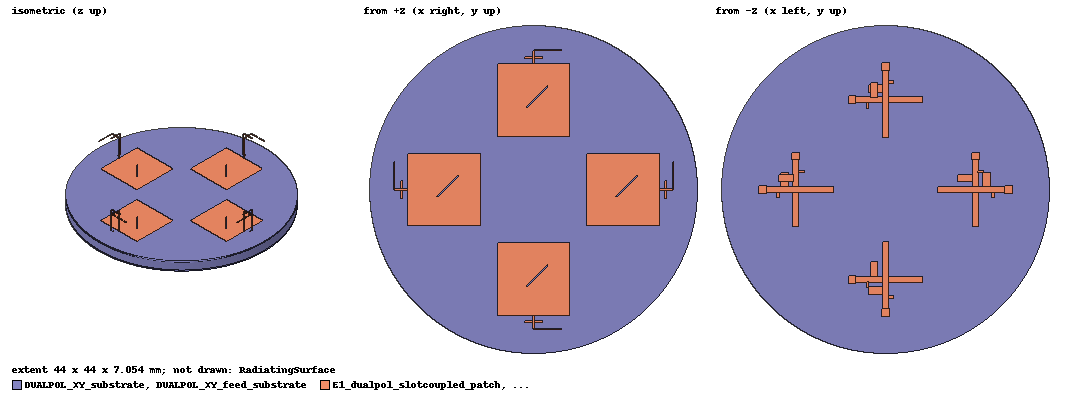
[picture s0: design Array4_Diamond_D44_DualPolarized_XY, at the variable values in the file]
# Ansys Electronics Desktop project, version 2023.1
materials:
  vacuum: permittivity=1
  RO4350B_custom_D44_Topology: permittivity=3.48 permeability=1 dielectric_loss_tangent=0.0037
  copper: permeability=0.999991 conductivity=58000000
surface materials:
  Steel-oxidised-surface

design Array4_Diamond_D44_DualPolarized_XY (HFSS, HFSS Modal Network, model units mm)
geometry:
  DUALPOL_XY_substrate [RO4350B_custom_D44_Topology] = cylinder(axis=Z, base_centre=(0mm, 0mm, 0mm), radius=22mm, height=2mm, segments=128)
  DUALPOL_XY_feed_substrate [RO4350B_custom_D44_Topology] = cylinder(axis=Z, base_centre=(0mm, 0mm, -0.254mm), radius=22mm, height=0.254mm, segments=128)
  DUALPOL_XY_bottom_ground [copper] = circle(normal=Z, centre=(0mm, 0mm, 0mm), radius=21.4mm, segments=128)
  ground_isolation_slot_1 = polyline(z=0mm, xy in mm: (2.7400388, 2.35113) (10.871767, 10.482858) (10.482858, 10.871767) (2.35113, 2.7400388) (2.7400388, 2.35113), closed, covered)
  ground_isolation_slot_2 = polyline(z=0mm, xy in mm: (-2.35113, 2.7400388) (-10.482858, 10.871767) (-10.871767, 10.482858) (-2.7400388, 2.35113) (-2.35113, 2.7400388), closed, covered)
  ground_isolation_slot_3 = polyline(z=0mm, xy in mm: (-2.7400388, -2.35113) (-10.871767, -10.482858) (-10.482858, -10.871767) (-2.35113, -2.7400388) (-2.7400388, -2.35113), closed, covered)
  ground_isolation_slot_4 = polyline(z=0mm, xy in mm: (2.35113, -2.7400388) (10.482858, -10.871767) (10.871767, -10.482858) (2.7400388, -2.35113) (2.35113, -2.7400388), closed, covered)
  E1_dualpol_slotcoupled_patch [copper] = polyline(z=2mm, xy in mm: (7.1458153, -4.875) (16.895815, -4.875) (16.895815, 4.875) (7.1458153, 4.875) (7.1458153, -4.875), closed, covered)
  E1_slotcoupled_patch_decoupling_slit = polyline(z=2mm, xy in mm: (11.099028, -1.00664) (13.927455, 1.8217872) (13.842602, 1.90664) (11.014175, -0.92178716) (11.099028, -1.00664), closed, covered)
  E1_dualpol_slotcoupled_patch.subtract(E1_slotcoupled_patch_decoupling_slit)
  E1_slotcoupled_folded_edge_riser [copper] = polyline(x=16.835815mm, yz in mm: (-0.1, 2) (0.1, 2) (0.1, 6.8) (-0.1, 6.8) (-0.1, 2), closed, covered)
  E1_slotcoupled_folded_edge_radial_arm [copper] = polyline(z=6.8mm, xy in mm: (16.835815, -0.1) (18.695815, -0.1) (18.695815, 0.1) (16.835815, 0.1) (16.835815, -0.1), closed, covered)
  E1_slotcoupled_folded_edge_tangent_arm [copper] = polyline(z=6.8mm, xy in mm: (18.595815, 0) (18.795815, 0) (18.795815, 3.8) (18.595815, 3.8) (18.595815, 0), closed, covered)
  E1_slotcoupled_a_aperture = polyline(z=0mm, xy in mm: (11.670815, -2.8) (12.370815, -2.8) (12.370815, 2.8) (11.670815, 2.8) (11.670815, -2.8), closed, covered)
  E1_slotcoupled_b_aperture = polyline(z=0mm, xy in mm: (9.2208153, -0.35) (14.820815, -0.35) (14.820815, 0.35) (9.2208153, 0.35) (9.2208153, -0.35), closed, covered)
  E1_slotcoupled_a_underside_feedline [copper] = polyline(z=-0.254mm, xy in mm: (7.0208153, -0.4) (17.020815, -0.4) (17.020815, 0.4) (7.0208153, 0.4) (7.0208153, -0.4), closed, covered)
  E1_slotcoupled_b_underside_feedline [copper] = polyline(z=-0.254mm, xy in mm: (11.620815, -5) (12.420815, -5) (12.420815, 5) (11.620815, 5) (11.620815, -5), closed, covered)
  E1_slotcoupled_a_port_step [copper] = polyline(z=-0.254mm, xy in mm: (16.020815, -0.55) (17.020815, -0.55) (17.020815, 0.55) (16.020815, 0.55) (16.020815, -0.55), closed, covered)
  E1_slotcoupled_b_port_step [copper] = polyline(z=-0.254mm, xy in mm: (11.470815, 4) (12.570815, 4) (12.570815, 5) (11.470815, 5) (11.470815, 4), closed, covered)
  E1_slotcoupled_a_open_stub [copper] = polyline(z=-0.254mm, xy in mm: (13.070815, 0.37) (14.070815, 0.37) (14.070815, 2.3) (13.070815, 2.3) (13.070815, 0.37), closed, covered)
  E1_slotcoupled_b_open_stub [copper] = polyline(z=-0.254mm, xy in mm: (12.390815, 1.05) (14.320815, 1.05) (14.320815, 2.05) (12.390815, 2.05) (12.390815, 1.05), closed, covered)
  E1_slotcoupled_a_open_stub2 [copper] = polyline(z=-0.254mm, xy in mm: (14.270815, -1.1) (14.570815, -1.1) (14.570815, -0.37) (14.270815, -0.37) (14.270815, -1.1), closed, covered)
  E1_slotcoupled_b_open_stub2 [copper] = polyline(z=-0.254mm, xy in mm: (10.920815, 2.25) (11.650815, 2.25) (11.650815, 2.55) (10.920815, 2.55) (10.920815, 2.25), closed, covered)
  P1A_switch_off_load_sheet = polyline(x=17.020815mm, yz in mm: (-0.25, -0.254) (0.25, -0.254) (0.25, 0) (-0.25, 0) (-0.25, -0.254), closed, covered)
  P1B_lumped_port_sheet = polyline(y=5mm, xz in mm: (11.770815, -0.254) (12.270815, -0.254) (12.270815, 0) (11.770815, 0) (11.770815, -0.254), closed, covered)
  E1_board_edge_fed_monopole_wall [copper] = polyline(x=17.695815mm, yz in mm: (-1.32, 2) (-1.08, 2) (-1.08, 6.8) (-1.32, 6.8) (-1.32, 2), closed, covered)
  E1_board_edge_fed_monopole_topload [copper] = polyline(z=6.8mm, xy in mm: (17.575815, -1.2) (17.815815, -1.2) (17.815815, 1.2) (17.575815, 1.2) (17.575815, -1.2), closed, covered)
  P1L_lumped_port_sheet = polyline(x=17.695815mm, yz in mm: (-1.45, 0) (-0.95, 0) (-0.95, 2) (-1.45, 2) (-1.45, 0), closed, covered)
  E1_board_edge_fed_l_match_stub [copper] = polyline(z=2mm, xy in mm: (17.605815, -1.2) (17.785815, -1.2) (17.785815, -0.4) (17.605815, -0.4) (17.605815, -1.2), closed, covered)
  P1L_shunt_match_switch_off_load_sheet = polyline(x=17.695815mm, yz in mm: (-0.65, 0) (-0.15, 0) (-0.15, 2) (-0.65, 2) (-0.65, 0), closed, covered)
  E2_dualpol_slotcoupled_patch [copper] = polyline(z=2mm, xy in mm: (-4.875, 7.1458153) (4.875, 7.1458153) (4.875, 16.895815) (-4.875, 16.895815) (-4.875, 7.1458153), closed, covered)
  E2_slotcoupled_patch_decoupling_slit = polyline(z=2mm, xy in mm: (-0.92178716, 11.014175) (1.90664, 13.842602) (1.8217872, 13.927455) (-1.00664, 11.099028) (-0.92178716, 11.014175), closed, covered)
  E2_dualpol_slotcoupled_patch.subtract(E2_slotcoupled_patch_decoupling_slit)
  E2_slotcoupled_folded_edge_riser [copper] = polyline(y=16.835815mm, xz in mm: (-0.1, 2) (0.1, 2) (0.1, 6.8) (-0.1, 6.8) (-0.1, 2), closed, covered)
  E2_slotcoupled_folded_edge_radial_arm [copper] = polyline(z=6.8mm, xy in mm: (-0.1, 16.835815) (0.1, 16.835815) (0.1, 18.695815) (-0.1, 18.695815) (-0.1, 16.835815), closed, covered)
  E2_slotcoupled_folded_edge_tangent_arm [copper] = polyline(z=6.8mm, xy in mm: (7.3606265e-16, 18.595815) (3.8, 18.595815) (3.8, 18.795815) (7.3606265e-16, 18.795815) (7.3606265e-16, 18.595815), closed, covered)
  E2_slotcoupled_a_aperture = polyline(z=0mm, xy in mm: (-0.35, 9.2208153) (0.35, 9.2208153) (0.35, 14.820815) (-0.35, 14.820815) (-0.35, 9.2208153), closed, covered)
  E2_slotcoupled_b_aperture = polyline(z=0mm, xy in mm: (-2.8, 11.670815) (2.8, 11.670815) (2.8, 12.370815) (-2.8, 12.370815) (-2.8, 11.670815), closed, covered)
  E2_slotcoupled_a_underside_feedline [copper] = polyline(z=-0.254mm, xy in mm: (-5, 11.620815) (5, 11.620815) (5, 12.420815) (-5, 12.420815) (-5, 11.620815), closed, covered)
  E2_slotcoupled_b_underside_feedline [copper] = polyline(z=-0.254mm, xy in mm: (-0.4, 7.0208153) (0.4, 7.0208153) (0.4, 17.020815) (-0.4, 17.020815) (-0.4, 7.0208153), closed, covered)
  E2_slotcoupled_a_port_step [copper] = polyline(z=-0.254mm, xy in mm: (4, 11.470815) (5, 11.470815) (5, 12.570815) (4, 12.570815) (4, 11.470815), closed, covered)
  E2_slotcoupled_b_port_step [copper] = polyline(z=-0.254mm, xy in mm: (-0.55, 16.020815) (0.55, 16.020815) (0.55, 17.020815) (-0.55, 17.020815) (-0.55, 16.020815), closed, covered)
  E2_slotcoupled_a_open_stub [copper] = polyline(z=-0.254mm, xy in mm: (1.05, 12.390815) (2.05, 12.390815) (2.05, 14.320815) (1.05, 14.320815) (1.05, 12.390815), closed, covered)
  E2_slotcoupled_b_open_stub [copper] = polyline(z=-0.254mm, xy in mm: (0.37, 13.070815) (2.3, 13.070815) (2.3, 14.070815) (0.37, 14.070815) (0.37, 13.070815), closed, covered)
  E2_slotcoupled_a_open_stub2 [copper] = polyline(z=-0.254mm, xy in mm: (2.25, 10.920815) (2.55, 10.920815) (2.55, 11.650815) (2.25, 11.650815) (2.25, 10.920815), closed, covered)
  E2_slotcoupled_b_open_stub2 [copper] = polyline(z=-0.254mm, xy in mm: (-1.1, 14.270815) (-0.37, 14.270815) (-0.37, 14.570815) (-1.1, 14.570815) (-1.1, 14.270815), closed, covered)
  P2A_switch_off_load_sheet = polyline(x=5mm, yz in mm: (11.770815, -0.254) (12.270815, -0.254) (12.270815, 0) (11.770815, 0) (11.770815, -0.254), closed, covered)
  P2B_lumped_port_sheet = polyline(y=17.020815mm, xz in mm: (-0.25, -0.254) (0.25, -0.254) (0.25, 0) (-0.25, 0) (-0.25, -0.254), closed, covered)
  E2_board_edge_fed_monopole_wall [copper] = polyline(y=17.695815mm, xz in mm: (-1.32, 2) (-1.08, 2) (-1.08, 6.8) (-1.32, 6.8) (-1.32, 2), closed, covered)
  E2_board_edge_fed_monopole_topload [copper] = polyline(z=6.8mm, xy in mm: (-1.2, 17.575815) (1.2, 17.575815) (1.2, 17.815815) (-1.2, 17.815815) (-1.2, 17.575815), closed, covered)
  P2L_lumped_port_sheet = polyline(y=17.695815mm, xz in mm: (-1.45, 0) (-0.95, 0) (-0.95, 2) (-1.45, 2) (-1.45, 0), closed, covered)
  E2_board_edge_fed_l_match_stub [copper] = polyline(z=2mm, xy in mm: (-1.2, 17.605815) (-0.4, 17.605815) (-0.4, 17.785815) (-1.2, 17.785815) (-1.2, 17.605815), closed, covered)
  P2L_shunt_match_switch_off_load_sheet = polyline(y=17.695815mm, xz in mm: (-0.65, 0) (-0.15, 0) (-0.15, 2) (-0.65, 2) (-0.65, 0), closed, covered)
  E3_dualpol_slotcoupled_patch [copper] = polyline(z=2mm, xy in mm: (-16.895815, -4.875) (-7.1458153, -4.875) (-7.1458153, 4.875) (-16.895815, 4.875) (-16.895815, -4.875), closed, covered)
  E3_slotcoupled_patch_decoupling_slit = polyline(z=2mm, xy in mm: (-12.942602, -1.00664) (-10.114175, 1.8217872) (-10.199028, 1.90664) (-13.027455, -0.92178716) (-12.942602, -1.00664), closed, covered)
  E3_dualpol_slotcoupled_patch.subtract(E3_slotcoupled_patch_decoupling_slit)
  E3_slotcoupled_folded_edge_riser [copper] = polyline(x=-16.835815mm, yz in mm: (-0.1, 2) (0.1, 2) (0.1, 6.8) (-0.1, 6.8) (-0.1, 2), closed, covered)
  E3_slotcoupled_folded_edge_radial_arm [copper] = polyline(z=6.8mm, xy in mm: (-18.695815, -0.1) (-16.835815, -0.1) (-16.835815, 0.1) (-18.695815, 0.1) (-18.695815, -0.1), closed, covered)
  E3_slotcoupled_folded_edge_tangent_arm [copper] = polyline(z=6.8mm, xy in mm: (-18.795815, 1.4721253e-15) (-18.595815, 1.4721253e-15) (-18.595815, 3.8) (-18.795815, 3.8) (-18.795815, 1.4721253e-15), closed, covered)
  E3_slotcoupled_a_aperture = polyline(z=0mm, xy in mm: (-12.370815, -2.8) (-11.670815, -2.8) (-11.670815, 2.8) (-12.370815, 2.8) (-12.370815, -2.8), closed, covered)
  E3_slotcoupled_b_aperture = polyline(z=0mm, xy in mm: (-14.820815, -0.35) (-9.2208153, -0.35) (-9.2208153, 0.35) (-14.820815, 0.35) (-14.820815, -0.35), closed, covered)
  E3_slotcoupled_a_underside_feedline [copper] = polyline(z=-0.254mm, xy in mm: (-17.020815, -0.4) (-7.0208153, -0.4) (-7.0208153, 0.4) (-17.020815, 0.4) (-17.020815, -0.4), closed, covered)
  E3_slotcoupled_b_underside_feedline [copper] = polyline(z=-0.254mm, xy in mm: (-12.420815, -5) (-11.620815, -5) (-11.620815, 5) (-12.420815, 5) (-12.420815, -5), closed, covered)
  E3_slotcoupled_a_port_step [copper] = polyline(z=-0.254mm, xy in mm: (-17.020815, -0.55) (-16.020815, -0.55) (-16.020815, 0.55) (-17.020815, 0.55) (-17.020815, -0.55), closed, covered)
  E3_slotcoupled_b_port_step [copper] = polyline(z=-0.254mm, xy in mm: (-12.570815, 4) (-11.470815, 4) (-11.470815, 5) (-12.570815, 5) (-12.570815, 4), closed, covered)
  E3_slotcoupled_a_open_stub [copper] = polyline(z=-0.254mm, xy in mm: (-14.070815, 0.37) (-13.070815, 0.37) (-13.070815, 2.3) (-14.070815, 2.3) (-14.070815, 0.37), closed, covered)
  E3_slotcoupled_b_open_stub [copper] = polyline(z=-0.254mm, xy in mm: (-11.650815, 1.05) (-9.7208153, 1.05) (-9.7208153, 2.05) (-11.650815, 2.05) (-11.650815, 1.05), closed, covered)
  E3_slotcoupled_a_open_stub2 [copper] = polyline(z=-0.254mm, xy in mm: (-14.570815, -1.1) (-14.270815, -1.1) (-14.270815, -0.37) (-14.570815, -0.37) (-14.570815, -1.1), closed, covered)
  E3_slotcoupled_b_open_stub2 [copper] = polyline(z=-0.254mm, xy in mm: (-13.120815, 2.25) (-12.390815, 2.25) (-12.390815, 2.55) (-13.120815, 2.55) (-13.120815, 2.25), closed, covered)
  P3A_switch_off_load_sheet = polyline(x=-17.020815mm, yz in mm: (-0.25, -0.254) (0.25, -0.254) (0.25, 0) (-0.25, 0) (-0.25, -0.254), closed, covered)
  P3B_lumped_port_sheet = polyline(y=5mm, xz in mm: (-12.270815, -0.254) (-11.770815, -0.254) (-11.770815, 0) (-12.270815, 0) (-12.270815, -0.254), closed, covered)
  E3_board_edge_fed_monopole_wall [copper] = polyline(x=-17.695815mm, yz in mm: (-1.32, 2) (-1.08, 2) (-1.08, 6.8) (-1.32, 6.8) (-1.32, 2), closed, covered)
  E3_board_edge_fed_monopole_topload [copper] = polyline(z=6.8mm, xy in mm: (-17.815815, -1.2) (-17.575815, -1.2) (-17.575815, 1.2) (-17.815815, 1.2) (-17.815815, -1.2), closed, covered)
  P3L_lumped_port_sheet = polyline(x=-17.695815mm, yz in mm: (-1.45, 0) (-0.95, 0) (-0.95, 2) (-1.45, 2) (-1.45, 0), closed, covered)
  E3_board_edge_fed_l_match_stub [copper] = polyline(z=2mm, xy in mm: (-17.785815, -1.2) (-17.605815, -1.2) (-17.605815, -0.4) (-17.785815, -0.4) (-17.785815, -1.2), closed, covered)
  P3L_shunt_match_switch_off_load_sheet = polyline(x=-17.695815mm, yz in mm: (-0.65, 0) (-0.15, 0) (-0.15, 2) (-0.65, 2) (-0.65, 0), closed, covered)
  E4_dualpol_slotcoupled_patch [copper] = polyline(z=2mm, xy in mm: (-4.875, -16.895815) (4.875, -16.895815) (4.875, -7.1458153) (-4.875, -7.1458153) (-4.875, -16.895815), closed, covered)
  E4_slotcoupled_patch_decoupling_slit = polyline(z=2mm, xy in mm: (-0.92178716, -13.027455) (1.90664, -10.199028) (1.8217872, -10.114175) (-1.00664, -12.942602) (-0.92178716, -13.027455), closed, covered)
  E4_dualpol_slotcoupled_patch.subtract(E4_slotcoupled_patch_decoupling_slit)
  E4_slotcoupled_folded_edge_riser [copper] = polyline(y=-16.835815mm, xz in mm: (-0.1, 2) (0.1, 2) (0.1, 6.8) (-0.1, 6.8) (-0.1, 2), closed, covered)
  E4_slotcoupled_folded_edge_radial_arm [copper] = polyline(z=6.8mm, xy in mm: (-0.1, -18.695815) (0.1, -18.695815) (0.1, -16.835815) (-0.1, -16.835815) (-0.1, -18.695815), closed, covered)
  E4_slotcoupled_folded_edge_tangent_arm [copper] = polyline(z=6.8mm, xy in mm: (-2.2081879e-15, -18.795815) (3.8, -18.795815) (3.8, -18.595815) (-2.2081879e-15, -18.595815) (-2.2081879e-15, -18.795815), closed, covered)
  E4_slotcoupled_a_aperture = polyline(z=0mm, xy in mm: (-0.35, -14.820815) (0.35, -14.820815) (0.35, -9.2208153) (-0.35, -9.2208153) (-0.35, -14.820815), closed, covered)
  E4_slotcoupled_b_aperture = polyline(z=0mm, xy in mm: (-2.8, -12.370815) (2.8, -12.370815) (2.8, -11.670815) (-2.8, -11.670815) (-2.8, -12.370815), closed, covered)
  E4_slotcoupled_a_underside_feedline [copper] = polyline(z=-0.254mm, xy in mm: (-5, -12.420815) (5, -12.420815) (5, -11.620815) (-5, -11.620815) (-5, -12.420815), closed, covered)
  E4_slotcoupled_b_underside_feedline [copper] = polyline(z=-0.254mm, xy in mm: (-0.4, -17.020815) (0.4, -17.020815) (0.4, -7.0208153) (-0.4, -7.0208153) (-0.4, -17.020815), closed, covered)
  E4_slotcoupled_a_port_step [copper] = polyline(z=-0.254mm, xy in mm: (4, -12.570815) (5, -12.570815) (5, -11.470815) (4, -11.470815) (4, -12.570815), closed, covered)
  E4_slotcoupled_b_port_step [copper] = polyline(z=-0.254mm, xy in mm: (-0.55, -17.020815) (0.55, -17.020815) (0.55, -16.020815) (-0.55, -16.020815) (-0.55, -17.020815), closed, covered)
  E4_slotcoupled_a_open_stub [copper] = polyline(z=-0.254mm, xy in mm: (1.05, -11.650815) (2.05, -11.650815) (2.05, -9.7208153) (1.05, -9.7208153) (1.05, -11.650815), closed, covered)
  E4_slotcoupled_b_open_stub [copper] = polyline(z=-0.254mm, xy in mm: (0.37, -14.070815) (2.3, -14.070815) (2.3, -13.070815) (0.37, -13.070815) (0.37, -14.070815), closed, covered)
  E4_slotcoupled_a_open_stub2 [copper] = polyline(z=-0.254mm, xy in mm: (2.25, -13.120815) (2.55, -13.120815) (2.55, -12.390815) (2.25, -12.390815) (2.25, -13.120815), closed, covered)
  E4_slotcoupled_b_open_stub2 [copper] = polyline(z=-0.254mm, xy in mm: (-1.1, -14.570815) (-0.37, -14.570815) (-0.37, -14.270815) (-1.1, -14.270815) (-1.1, -14.570815), closed, covered)
  P4A_switch_off_load_sheet = polyline(x=5mm, yz in mm: (-12.270815, -0.254) (-11.770815, -0.254) (-11.770815, 0) (-12.270815, 0) (-12.270815, -0.254), closed, covered)
  P4B_lumped_port_sheet = polyline(y=-17.020815mm, xz in mm: (-0.25, -0.254) (0.25, -0.254) (0.25, 0) (-0.25, 0) (-0.25, -0.254), closed, covered)
  E4_board_edge_fed_monopole_wall [copper] = polyline(y=-17.695815mm, xz in mm: (-1.32, 2) (-1.08, 2) (-1.08, 6.8) (-1.32, 6.8) (-1.32, 2), closed, covered)
  E4_board_edge_fed_monopole_topload [copper] = polyline(z=6.8mm, xy in mm: (-1.2, -17.815815) (1.2, -17.815815) (1.2, -17.575815) (-1.2, -17.575815) (-1.2, -17.815815), closed, covered)
  P4L_lumped_port_sheet = polyline(y=-17.695815mm, xz in mm: (-1.45, 0) (-0.95, 0) (-0.95, 2) (-1.45, 2) (-1.45, 0), closed, covered)
  E4_board_edge_fed_l_match_stub [copper] = polyline(z=2mm, xy in mm: (-1.2, -17.785815) (-0.4, -17.785815) (-0.4, -17.605815) (-1.2, -17.605815) (-1.2, -17.785815), closed, covered)
  P4L_shunt_match_switch_off_load_sheet = polyline(y=-17.695815mm, xz in mm: (-0.65, 0) (-0.15, 0) (-0.15, 2) (-0.65, 2) (-0.65, 0), closed, covered)
  DUALPOL_XY_bottom_ground.subtract(ground_isolation_slot_1..ground_isolation_slot_4, E1_slotcoupled_a_aperture, E1_slotcoupled_b_aperture, E2_slotcoupled_a_aperture, E2_slotcoupled_b_aperture, E3_slotcoupled_a_aperture, E3_slotcoupled_b_aperture, E4_slotcoupled_a_aperture, E4_slotcoupled_b_aperture)
  RadiatingSurface [vacuum] = region(absolute_offset=14.285714mm on all sides)
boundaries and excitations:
  P1A_switch_off_load: Lumped RLC Objects=P1A_switch_off_load_sheet CurrentLine{(17.020815, 0, 0) -> (17.020815, 0, -0.254)} RLC_Type=Parallel Resistance=50ohm Capacitance=8e-14f
  P1L_shunt_match_switch_off_load: Lumped RLC Objects=P1L_shunt_match_switch_off_load_sheet CurrentLine{(17.695815, -0.4, 2) -> (17.695815, -0.4, 0)} RLC_Type=Parallel Capacitance=1.2e-13f
  P2A_switch_off_load: Lumped RLC Objects=P2A_switch_off_load_sheet CurrentLine{(5, 12.020815, 0) -> (5, 12.020815, -0.254)} RLC_Type=Parallel Resistance=50ohm Capacitance=8e-14f
  P2L_shunt_match_switch_off_load: Lumped RLC Objects=P2L_shunt_match_switch_off_load_sheet CurrentLine{(-0.4, 17.695815, 2) -> (-0.4, 17.695815, 0)} RLC_Type=Parallel Capacitance=1.2e-13f
  P3A_switch_off_load: Lumped RLC Objects=P3A_switch_off_load_sheet CurrentLine{(-17.020815, 0, 0) -> (-17.020815, 0, -0.254)} RLC_Type=Parallel Resistance=50ohm Capacitance=8e-14f
  P3L_shunt_match_switch_off_load: Lumped RLC Objects=P3L_shunt_match_switch_off_load_sheet CurrentLine{(-17.695815, -0.4, 2) -> (-17.695815, -0.4, 0)} RLC_Type=Parallel Capacitance=1.2e-13f
  P4A_switch_off_load: Lumped RLC Objects=P4A_switch_off_load_sheet CurrentLine{(5, -12.020815, 0) -> (5, -12.020815, -0.254)} RLC_Type=Parallel Resistance=50ohm Capacitance=8e-14f
  P4L_shunt_match_switch_off_load: Lumped RLC Objects=P4L_shunt_match_switch_off_load_sheet CurrentLine{(-0.4, -17.695815, 2) -> (-0.4, -17.695815, 0)} RLC_Type=Parallel Capacitance=1.2e-13f
  DUALPOL_XY_PEC_metallization: Perfect E Objects=[DUALPOL_XY_bottom_ground, E1_dualpol_slotcoupled_patch, E1_slotcoupled_folded_edge_riser, E1_slotcoupled_folded_edge_radial_arm, E1_slotcoupled_folded_edge_tangent_arm, E1_slotcoupled_a_underside_feedline, E1_slotcoupled_b_underside_feedline, E1_slotcoupled_a_port_step, E1_slotcoupled_b_port_step, E1_slotcoupled_a_open_stub, E1_slotcoupled_b_open_stub, E1_slotcoupled_a_open_stub2, E1_slotcoupled_b_open_stub2, E1_board_edge_fed_monopole_wall, E1_board_edge_fed_monopole_topload, E1_board_edge_fed_l_match_stub, E2_dualpol_slotcoupled_patch, E2_slotcoupled_folded_edge_riser, E2_slotcoupled_folded_edge_radial_arm, E2_slotcoupled_folded_edge_tangent_arm, E2_slotcoupled_a_underside_feedline, E2_slotcoupled_b_underside_feedline, E2_slotcoupled_a_port_step, E2_slotcoupled_b_port_step, E2_slotcoupled_a_open_stub, E2_slotcoupled_b_open_stub, E2_slotcoupled_a_open_stub2, E2_slotcoupled_b_open_stub2, E2_board_edge_fed_monopole_wall, E2_board_edge_fed_monopole_topload, E2_board_edge_fed_l_match_stub, E3_dualpol_slotcoupled_patch, E3_slotcoupled_folded_edge_riser, E3_slotcoupled_folded_edge_radial_arm, E3_slotcoupled_folded_edge_tangent_arm, E3_slotcoupled_a_underside_feedline, E3_slotcoupled_b_underside_feedline, E3_slotcoupled_a_port_step, E3_slotcoupled_b_port_step, E3_slotcoupled_a_open_stub, E3_slotcoupled_b_open_stub, E3_slotcoupled_a_open_stub2, E3_slotcoupled_b_open_stub2, E3_board_edge_fed_monopole_wall, E3_board_edge_fed_monopole_topload, E3_board_edge_fed_l_match_stub, E4_dualpol_slotcoupled_patch, E4_slotcoupled_folded_edge_riser, E4_slotcoupled_folded_edge_radial_arm, E4_slotcoupled_folded_edge_tangent_arm, E4_slotcoupled_a_underside_feedline, E4_slotcoupled_b_underside_feedline, E4_slotcoupled_a_port_step, E4_slotcoupled_b_port_step, E4_slotcoupled_a_open_stub, E4_slotcoupled_b_open_stub, E4_slotcoupled_a_open_stub2, E4_slotcoupled_b_open_stub2, E4_board_edge_fed_monopole_wall, E4_board_edge_fed_monopole_topload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]
  Open1: Radiation Objects=RadiatingSurface
  P1B: Lumped Port Objects=P1B_lumped_port_sheet LumpedPortType=Modal Modes{Mode1{IntLine{(12.020815, 5, 0) -> (12.020815, 5, -0.254)} CharImp=Zpi RenormImp=50ohm}} Impedance=50ohm
  P1L: Lumped Port Objects=P1L_lumped_port_sheet LumpedPortType=Modal Modes{Mode1{IntLine{(17.695815, -1.2, 2) -> (17.695815, -1.2, 0)} CharImp=Zpi RenormImp=50ohm}} Impedance=50ohm
  P2B: Lumped Port Objects=P2B_lumped_port_sheet LumpedPortType=Modal Modes{Mode1{IntLine{(0, 17.020815, 0) -> (0, 17.020815, -0.254)} CharImp=Zpi RenormImp=50ohm}} Impedance=50ohm
  P2L: Lumped Port Objects=P2L_lumped_port_sheet LumpedPortType=Modal Modes{Mode1{IntLine{(-1.2, 17.695815, 2) -> (-1.2, 17.695815, 0)} CharImp=Zpi RenormImp=50ohm}} Impedance=50ohm
  P3B: Lumped Port Objects=P3B_lumped_port_sheet LumpedPortType=Modal Modes{Mode1{IntLine{(-12.020815, 5, 0) -> (-12.020815, 5, -0.254)} CharImp=Zpi RenormImp=50ohm}} Impedance=50ohm
  P3L: Lumped Port Objects=P3L_lumped_port_sheet LumpedPortType=Modal Modes{Mode1{IntLine{(-17.695815, -1.2, 2) -> (-17.695815, -1.2, 0)} CharImp=Zpi RenormImp=50ohm}} Impedance=50ohm
  P4B: Lumped Port Objects=P4B_lumped_port_sheet LumpedPortType=Modal Modes{Mode1{IntLine{(0, -17.020815, 0) -> (0, -17.020815, -0.254)} CharImp=Zpi RenormImp=50ohm}} Impedance=50ohm
  P4L: Lumped Port Objects=P4L_lumped_port_sheet LumpedPortType=Modal Modes{Mode1{IntLine{(-1.2, -17.695815, 2) -> (-1.2, -17.695815, 0)} CharImp=Zpi RenormImp=50ohm}} Impedance=50ohm
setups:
  Setup_CH9: HfssDriven Frequency=8GHz MaxDeltaS=0.05 MaximumPasses=4 MinimumPasses=1 MinimumConvergedPasses=1 PercentRefinement=30 BasisOrder=1 PortAccuracy=2 DrivenSolverType="Direct Solver"
    sweep Sweep_CH9: 7.738GHz to 8.233GHz, 3 points; Type=Discrete
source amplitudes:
  P1B:1: 1W 0deg
  P1L:1, P2B:1, P2L:1, P3B:1, P3L:1, P4B:1, P4L:1: 0W 0deg
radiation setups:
  3D: Infinite Sphere Theta=0deg..180deg step 2deg Phi=-180deg..180deg step 2deg
  Elevation: Infinite Sphere Theta=-180deg..180deg step 1deg Phi=0deg..90deg step 90deg
  Azimuth: Infinite Sphere Theta=90deg..90deg step 0deg Phi=-180deg..180deg step 1deg
